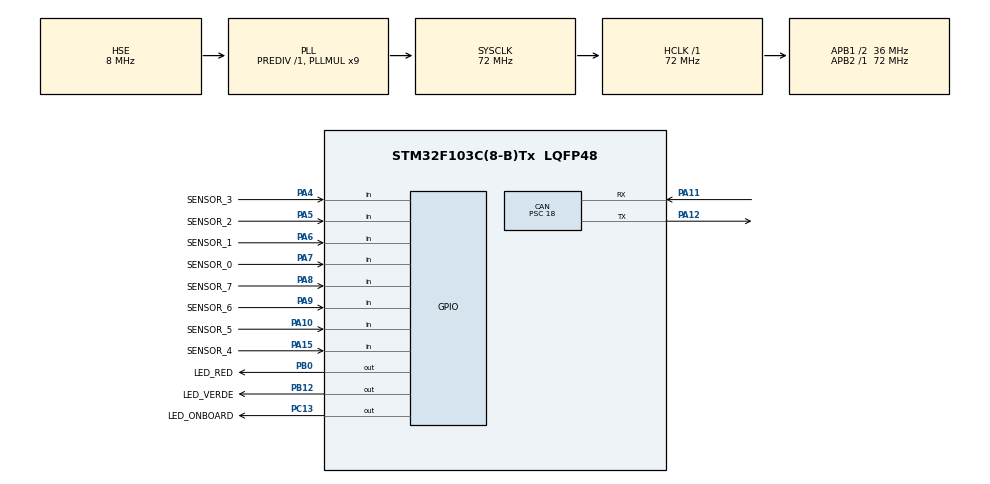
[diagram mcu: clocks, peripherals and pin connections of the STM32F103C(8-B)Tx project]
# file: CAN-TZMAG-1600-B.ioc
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CAN.BS1=CAN_BS1_4TQ
CAN.BS2=CAN_BS2_3TQ
CAN.CalculateBaudRate=250000
CAN.CalculateTimeBit=4000
CAN.CalculateTimeQuantum=500.0
CAN.Prescaler=18
Mcu.Family=STM32F1
Mcu.Name=STM32F103C(8-B)Tx
Mcu.Package=LQFP48
NVIC.PriorityGroup=NVIC_PRIORITYGROUP_4
NVIC.TIM2_IRQn=true\:0\:0\:false\:false\:true\:true\:true\:true
NVIC.USB_LP_CAN1_RX0_IRQn=true\:0\:0\:false\:false\:true\:true\:true\:true
PA10.GPIO_Label=SENSOR_5
PA10.Signal=GPIO_Input
PA11.Mode=CAN_Activate
PA11.Signal=CAN_RX
PA12.Mode=CAN_Activate
PA12.Signal=CAN_TX
PA15.GPIO_Label=SENSOR_4
PA15.Signal=GPIO_Input
PA4.GPIO_Label=SENSOR_3
PA4.GPIO_PuPd=GPIO_NOPULL
PA4.Signal=GPIO_Input
PA5.GPIO_Label=SENSOR_2
PA5.Signal=GPIO_Input
PA6.GPIO_Label=SENSOR_1
PA6.Signal=GPIO_Input
PA7.GPIO_Label=SENSOR_0
PA7.Signal=GPIO_Input
PA8.GPIO_Label=SENSOR_7
PA8.Signal=GPIO_Input
PA9.GPIO_Label=SENSOR_6
PA9.Signal=GPIO_Input
PB0.GPIO_Label=LED_RED
PB0.Signal=GPIO_Output
PB12.GPIO_Label=LED_VERDE
PB12.Signal=GPIO_Output
PC13-TAMPER-RTC.GPIO_Label=LED_ONBOARD
PC13-TAMPER-RTC.Signal=GPIO_Output
PD0-OSC_IN.Mode=HSE-External-Oscillator
PD0-OSC_IN.Signal=RCC_OSC_IN
PD1-OSC_OUT.Mode=HSE-External-Oscillator
PD1-OSC_OUT.Signal=RCC_OSC_OUT
ProjectManager.HeapSize=0x200
ProjectManager.StackSize=0x400
ProjectManager.TargetToolchain=STM32CubeIDE
RCC.AHBFreq_Value=72000000
RCC.APB1CLKDivider=RCC_HCLK_DIV2
RCC.APB1Freq_Value=36000000
RCC.APB1TimFreq_Value=72000000
RCC.APB2Freq_Value=72000000
RCC.APB2TimFreq_Value=72000000
RCC.HCLKFreq_Value=72000000
RCC.PLLMUL=RCC_PLL_MUL9
RCC.PLLSourceVirtual=RCC_PLLSOURCE_HSE
RCC.SYSCLKFreq_VALUE=72000000
RCC.SYSCLKSource=RCC_SYSCLKSOURCE_PLLCLK
RCC.USBFreq_Value=72000000
TIM2.Period=9
TIM2.Prescaler=7999
VP_TIM2_VS_ClockSourceINT.Mode=Internal
board=custom

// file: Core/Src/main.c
/* USER CODE BEGIN Header */
/**
  ******************************************************************************
  * @file           : main.c
  * @brief          : Main program body
  ******************************************************************************
  * @attention
  *
  * Copyright (c) 2023 STMicroelectronics.
  * All rights reserved.
  *
  * This software is licensed under terms that can be found in the LICENSE file
  * in the root directory of this software component.
  * If no LICENSE file comes with this software, it is provided AS-IS.
  *
  ******************************************************************************
  */
/* USER CODE END Header */
#include "main.h"
#include "can.h"
#include "tim.h"
#include "gpio.h"

/* USER CODE BEGIN PD */
#define id_tx 0x10 //MAESTRO
#define id_rx 0x123 //ESCLAVO Nosotros
#define DLCSENSOR 8
#define BROADCAST_MODE 1// Broadcast sensor Work mode
#define POLL_MODE 2 //Poll sensor Work mode

/* USER CODE END PD */

/* USER CODE BEGIN PV */
CAN_RxHeaderTypeDef rxHeader;
CAN_TxHeaderTypeDef txHeader;

uint8_t CanTxBuffer[8]; //Buffer escritura
uint8_t CanRxBuffer[8]; //Buffer lectura
uint32_t CanMailBox; //Para enviar
uint8_t flag_rx = 0, tx_complete = 0, tx_retry = 0, read_complete = 0; // banderas
uint8_t counterTime = 5; // contador tiempo
uint8_t WorkMode = BROADCAST_MODE; // por default va a trabajar en broadcast mode
uint8_t CycleTime = 10, CycleSensor = 5; //Cada cuanto envia los datos en broadcast mode, por default 10ms
uint8_t valueCycleTime = 10;
uint8_t SensorData[8]; //Buffer Sensor
uint16_t ChangeValueSensorTime = 2000;
HAL_CAN_StateTypeDef status1;
//uint8_t count = 0;

/* USER CODE END PV */

void SystemClock_Config(void);
/* USER CODE BEGIN PFP */
void CAN_Filter_Config(void);
void HAL_TIM_PeriodElapsedCallback(TIM_HandleTypeDef *htim);
void HAL_CAN_RxFifo0MsgPendingCallback(CAN_HandleTypeDef *hcan);
void SendMessage();
void ChangeValueSensorData();
void ReadSensor();
/* USER CODE END PFP */

/* USER CODE BEGIN 0 */

// COMO ENVIA LOS DATOS EN SENSOR... DLC = 8 RTR = DATA IDE = STANDARD
// B1 B2 		B3 B4 		B5 B6 		B7 B8
// H  L  		H  L  		H  L  		H  L
// Right 		Middle 		Left 		Cells state

// 0.1mm/unit es relacion de los datos sensados, ejemplo Middle = 200 significa que hay 20mm de desviacion con respecto a middle
// 0x8000 valdra si no se detecta linea o cinta, para este caso Right y Left = 0x8000
// Cell states B8 tiene los sensores de la izquierda y B7 los de la derecha
// B0 B1 B2 B3 B4 B5 B6 B7				B0 B1 B2 B3 B4 B5 B6
// 			byte 8								byte 7

/* USER CODE END 0 */

int main(void)
{

  /* MCU Configuration--------------------------------------------------------*/

  /* Reset of all peripherals, Initializes the Flash interface and the Systick. */
  HAL_Init();

  /* Configure the system clock */
  SystemClock_Config();

  /* Initialize all configured peripherals */
  MX_GPIO_Init();
  MX_CAN_Init();
  MX_TIM2_Init();
  /* USER CODE BEGIN 2 */
  CAN_Filter_Config();
  HAL_CAN_Start(&hcan);
  HAL_CAN_ActivateNotification(&hcan, CAN_IT_RX_FIFO0_MSG_PENDING);
  HAL_TIM_Base_Start_IT(&htim2);

  txHeader.DLC = DLCSENSOR;
  txHeader.IDE = CAN_ID_STD;
  txHeader.RTR = CAN_RTR_DATA;
  txHeader.StdId = id_tx; // DIRECCION A RESPONDER
/*
  SensorData[0] = 0x80;	//right			H		0x80 = 1000 0000 0000 0000
  SensorData[1] = 0;	//right			L
  SensorData[2] = 0;	//middle		H		0000 0000
  SensorData[3] = 200;	//middle		L		1100 1000
  SensorData[4] = 0x80;	//left			H		1000 0000
  SensorData[5] = 0;	//left			L
  SensorData[6] = 0x03;	//cell state	H		 0000 011
  SensorData[7] = 0x80;	//cell state	L		1000 0000
*/

  //Para simular el envio de los estados de los sensores, definimos usar el byte 07 para los 4 sensores de la derecha (sensores 0,1,2,3)
  //y el byte 08 para los 4 de la izquierda (sensores 4,5,6,7)

  /* USER CODE END 2 */

  /* Infinite loop */
  while (1)
  {

    /* USER CODE BEGIN 3 */
	 if(!CycleSensor){
		 ReadSensor();
		 CycleSensor = 5;
	 }

	 if(!CycleTime || tx_retry){
		 SendMessage();
		 HAL_GPIO_TogglePin(LED_ONBOARD_GPIO_Port, LED_ONBOARD_Pin);

	 }
	 if(tx_complete){
		 CycleTime = valueCycleTime;
		 //ChangeValueSensorData();
		 tx_complete = 0;
	 }
	 /*
	 if(!ChangeValueSensorTime){
		 ChangeValueSensorData();
		 HAL_GPIO_TogglePin(LED_RED_GPIO_Port, LED_RED_Pin);
		 HAL_GPIO_TogglePin(LED_ONBOARD_GPIO_Port, LED_ONBOARD_Pin);
		 ChangeValueSensorTime = 2000;
	 }*/
  }
  /* USER CODE END 3 */
}

void SystemClock_Config(void)
{
  RCC_OscInitTypeDef RCC_OscInitStruct = {0};
  RCC_ClkInitTypeDef RCC_ClkInitStruct = {0};

  /** Initializes the RCC Oscillators according to the specified parameters
  * in the RCC_OscInitTypeDef structure.
  */
  RCC_OscInitStruct.OscillatorType = RCC_OSCILLATORTYPE_HSE;
  RCC_OscInitStruct.HSEState = RCC_HSE_ON;
  RCC_OscInitStruct.HSEPredivValue = RCC_HSE_PREDIV_DIV1;
  RCC_OscInitStruct.HSIState = RCC_HSI_ON;
  RCC_OscInitStruct.PLL.PLLState = RCC_PLL_ON;
  RCC_OscInitStruct.PLL.PLLSource = RCC_PLLSOURCE_HSE;
  RCC_OscInitStruct.PLL.PLLMUL = RCC_PLL_MUL9;
  if (HAL_RCC_OscConfig(&RCC_OscInitStruct) != HAL_OK)
  {
    Error_Handler();
  }

  /** Initializes the CPU, AHB and APB buses clocks
  */
  RCC_ClkInitStruct.ClockType = RCC_CLOCKTYPE_HCLK|RCC_CLOCKTYPE_SYSCLK
                              |RCC_CLOCKTYPE_PCLK1|RCC_CLOCKTYPE_PCLK2;
  RCC_ClkInitStruct.SYSCLKSource = RCC_SYSCLKSOURCE_PLLCLK;
  RCC_ClkInitStruct.AHBCLKDivider = RCC_SYSCLK_DIV1;
  RCC_ClkInitStruct.APB1CLKDivider = RCC_HCLK_DIV2;
  RCC_ClkInitStruct.APB2CLKDivider = RCC_HCLK_DIV1;

  if (HAL_RCC_ClockConfig(&RCC_ClkInitStruct, FLASH_LATENCY_2) != HAL_OK)
  {
    Error_Handler();
  }
}

/* USER CODE BEGIN 4 */

/* FUNCION PARA SIMULAR SENSORES
void ChangeValueSensorData(){
	if (SensorData[3] <= 254){
		SensorData[3] += 1;
	}
	else {
		SensorData[3] = 0;
		if(SensorData[2] <= 254)
			SensorData[2] += 1;
		else
			SensorData[2] = 0;
	}

}
*/
void SendMessage(){
	for (uint8_t i = 0; i<8; i++)
		CanTxBuffer[i] = SensorData[i];

	tx_complete = 0;
	if(HAL_CAN_IsTxMessagePending(&hcan, CanMailBox) == 0){
		if (HAL_CAN_AddTxMessage(&hcan, &txHeader, CanTxBuffer, &CanMailBox) == HAL_OK){
			tx_complete = 1;
			read_complete = 0;
			tx_retry = 0;
		}
		else
			tx_retry = 1;
	}
	else
		tx_retry = 1;
}

void ReadSensor(){

	SensorData[6] = 0;
	SensorData[7] = 0;

	SensorData[6] |= HAL_GPIO_ReadPin(SENSOR_0_GPIO_Port, SENSOR_0_Pin);//enviamos el estado del sensor 0 en el bit 0
	SensorData[6] |= (HAL_GPIO_ReadPin(SENSOR_1_GPIO_Port, SENSOR_1_Pin)<<1);//enviamos el estado del sensor 1 en el bit 1
	SensorData[6] |= (HAL_GPIO_ReadPin(SENSOR_2_GPIO_Port, SENSOR_2_Pin)<<2);//enviamos el estado del sensor 2 en el bit 2
	SensorData[6] |= (HAL_GPIO_ReadPin(SENSOR_3_GPIO_Port, SENSOR_3_Pin)<<3);//enviamos el estado del sensor 3 en el bit 3

	SensorData[7] |= HAL_GPIO_ReadPin(SENSOR_4_GPIO_Port, SENSOR_4_Pin);
	SensorData[7] |= (HAL_GPIO_ReadPin(SENSOR_5_GPIO_Port, SENSOR_5_Pin)<<1);
	SensorData[7] |= (HAL_GPIO_ReadPin(SENSOR_6_GPIO_Port, SENSOR_6_Pin)<<2);
	SensorData[7] |= (HAL_GPIO_ReadPin(SENSOR_7_GPIO_Port, SENSOR_7_Pin)<<3);

	read_complete = 1;

}

void HAL_TIM_PeriodElapsedCallback(TIM_HandleTypeDef *htim){
	if(CycleTime){
		CycleTime--;
	}
	if(CycleSensor){
		CycleSensor--;
	}
	/*
	if(ChangeValueSensorTime){
		ChangeValueSensorTime--;
	}*/
}

void HAL_CAN_RxFifo0MsgPendingCallback(CAN_HandleTypeDef *hcan)
{
	if(HAL_CAN_GetRxMessage(hcan, CAN_RX_FIFO0, &rxHeader, CanRxBuffer) == HAL_OK){
		flag_rx = 1;
	}
}

void CAN_Filter_Config(void) //Funcion para filtro can
{
	CAN_FilterTypeDef canfilter;

	canfilter.FilterActivation = CAN_FILTER_ENABLE;
	canfilter.FilterBank = 10;
	canfilter.FilterFIFOAssignment = CAN_FILTER_FIFO0;
	canfilter.FilterIdHigh = (id_rx << 5);
	canfilter.FilterIdLow = 0x0000;
	canfilter.FilterMaskIdHigh = (id_rx << 5);
	canfilter.FilterMaskIdLow = 0x0000;
	canfilter.FilterMode = CAN_FILTERMODE_IDMASK;
	canfilter.FilterScale = CAN_FILTERSCALE_32BIT;
	canfilter.SlaveStartFilterBank = 0;

	HAL_CAN_ConfigFilter(&hcan, &canfilter);
}

/* USER CODE END 4 */

void Error_Handler(void)
{
  __disable_irq();
  while (1)
  {
  }
}
